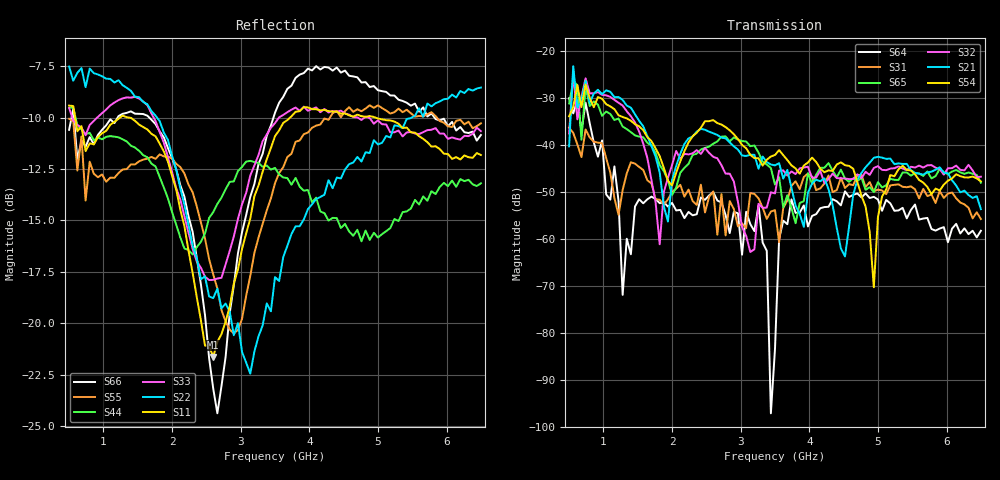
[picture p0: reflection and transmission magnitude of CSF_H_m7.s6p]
!Keysight Technologies,M9804A,MY58100912,A.14.10.03
!Date: Thursday, April 27, 2023 10:28:33
!Correction: S11(C  6-Port  )
!S12(C  6-Port  )
!S13(C  6-Port  )
!S14(C  6-Port  )
!S15(C  6-Port  )
!S16(C  6-Port  )
!S21(C  6-Port  )
!S22(C  6-Port  )
!S23(C  6-Port  )
!S24(C  6-Port  )
!S25(C  6-Port  )
!S26(C  6-Port  )
!S31(C  6-Port  )
!S32(C  6-Port  )
!S33(C  6-Port  )
!S34(C  6-Port  )
!S35(C  6-Port  )
!S36(C  6-Port  )
!S41(C  6-Port  )
!S42(C  6-Port  )
!S43(C  6-Port  )
!S44(C  6-Port  )
!S45(C  6-Port  )
!S46(C  6-Port  )
!S51(C  6-Port  )
!S52(C  6-Port  )
!S53(C  6-Port  )
!S54(C  6-Port  )
!S55(C  6-Port  )
!S56(C  6-Port  )
!S61(C  6-Port  )
!S62(C  6-Port  )
!S63(C  6-Port  )
!S64(C  6-Port  )
!S65(C  6-Port  )
!S66(C  6-Port  )
!S6P File: Measurement: :
# Hz S  RI  R 50
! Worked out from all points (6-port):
!   101 points, 500 MHz to 6.5 GHz, reference 50 ohm
!   strongest paths, dB at 500 MHz, 2 GHz, 3.5 GHz, 5 GHz, 6.5 GHz:
!     S54: -34.0, -48.7, -42.2, -55.4, -47.8
!     S21: -40.4, -47.6, -44.4, -42.6, -53.7
!     S32: -37.6, -44.3, -50.4, -44.6, -46.8
!     S65: -31.3, -50.7, -48.5, -48.0, -48.1
!     S31: -36.4, -50.1, -54.0, -49.6, -55.8
!     S64: -30.1, -52.4, -83.5, -51.7, -58.3
!   lowest |S11| = -21.6 dB at 2.6 GHz (marker M1), VSWR 1.18, Z = 42.6 + j1.98 ohm
!   |S11| at or under -10 dB: 587.9 MHz to 1.239 GHz (651.2 MHz wide, 71.3 % of centre); 1.39 GHz to 3.717 GHz (2.327 GHz wide, 91.1 % of centre); 4.971 GHz to end of sweep
